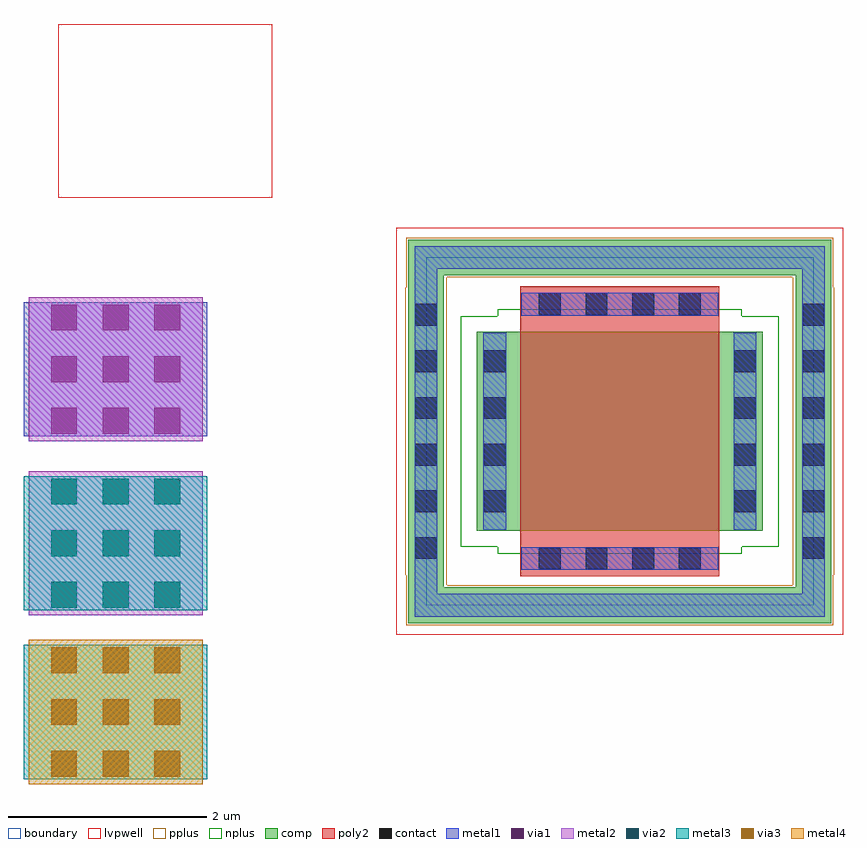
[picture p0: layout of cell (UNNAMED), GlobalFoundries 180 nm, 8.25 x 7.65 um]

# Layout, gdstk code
import gdstk
lib = gdstk.Library(unit=1e-6, precision=1e-09)
def R(c, l, rs):  # rectangles x0, y0, x1, y1
    for r in rs: c.add(gdstk.rectangle(r[:2], r[2:], *l))
def A(c, l, x, y, w, h, nx, ny, dx, dy):  # array of equal rectangles
    R(c, l, [(x+i*dx, y+j*dy, x+i*dx+w, y+j*dy+h) for i in range(nx) for j in range(ny)])
boundary = (0, 0)
comp = (22, 0)
poly2 = (30, 0)
pplus = (31, 0)
nplus = (32, 0)
contact = (33, 0)
metal1 = (34, 0)
via1 = (35, 0)
metal2 = (36, 0)
via2 = (38, 0)
via3 = (40, 0)
metal3 = (42, 0)
metal4 = (46, 0)
lvpwell = (204, 0)

nfet_03v3_echxb2 = lib.new_cell('nfet_03v3_ECHXB2')
R(nfet_03v3_echxb2, boundary, [(-1.95,-1.75,1.95,1.75)])
R(nfet_03v3_echxb2, comp, [(-2.13,-1.93,2.13,-1.57), (-2.13,-1.57,-1.77,1.57), (1.77,-1.57,2.13,1.57), (-1.44,-1,1.44,1), (-2.13,1.57,2.13,1.93)])
R(nfet_03v3_echxb2, poly2, [(-1,-1.46,1,1.46)])
R(nfet_03v3_echxb2, pplus, [(-2.15,-1.95,2.15,-1.55), (-2.15,-1.55,-1.74,-1.445), (1.74,-1.55,2.15,-1.445), (-2.16,-1.445,-1.74,1.445), (1.74,-1.445,2.16,1.445), (-2.15,1.445,-1.74,1.55), (1.74,1.445,2.15,1.55), (-2.15,1.55,2.15,1.95)])
R(nfet_03v3_echxb2, nplus, [(-1.23,-1.23,1.23,-1.16), (-1.6,-1.16,1.6,1.16), (-1.23,1.16,1.23,1.23)])
A(nfet_03v3_echxb2, contact, -0.815, -1.39, 0.22, 0.22, 4, 2, 0.47, 2.56)
A(nfet_03v3_echxb2, contact, -2.06, -1.285, 0.22, 0.22, 1, 6, 0, 0.47)
A(nfet_03v3_echxb2, contact, 1.84, -1.285, 0.22, 0.22, 1, 6, 0, 0.47)
A(nfet_03v3_echxb2, contact, -1.37, -0.815, 0.22, 0.22, 1, 4, 0, 0.47)
A(nfet_03v3_echxb2, contact, 1.15, -0.815, 0.22, 0.22, 1, 4, 0, 0.47)
R(nfet_03v3_echxb2, metal1, [(-2.065,-1.865,2.065,-1.635), (-2.065,-1.635,-1.835,1.635), (1.835,-1.635,2.065,1.635), (-0.99,-1.395,0.99,-1.165), (-1.375,-0.99,-1.145,0.99), (1.145,-0.99,1.375,0.99), (-0.99,1.165,0.99,1.395), (-2.065,1.635,2.065,1.865)])
R(nfet_03v3_echxb2, lvpwell, [(-2.25,-2.05,2.25,2.05)])

c__unnamed_ = lib.new_cell('(UNNAMED)')
R(c__unnamed_, metal1, [(-4.3,1.05,-2.45,2.4)])
A(c__unnamed_, via1, -4.025, 1.075, 0.26, 0.26, 3, 3, 0.52, 0.52)
R(c__unnamed_, metal2, [(-4.25,-0.75,-2.5,0.7), (-4.25,1,-2.5,2.45)])
A(c__unnamed_, via2, -4.025, -0.675, 0.26, 0.26, 3, 3, 0.52, 0.52)
A(c__unnamed_, via3, -4.025, -2.375, 0.26, 0.26, 3, 3, 0.52, 0.52)
R(c__unnamed_, metal3, [(-4.3,-2.4,-2.45,-1.05), (-4.3,-0.7,-2.45,0.65)])
R(c__unnamed_, metal4, [(-4.25,-2.45,-2.5,-1)])
R(c__unnamed_, lvpwell, [(-3.95,3.45,-1.8,5.2)])
c__unnamed_.add(gdstk.Reference(nfet_03v3_echxb2, (1.7,1.1)))

lib.write_gds('_UNNAMED_.gds')
